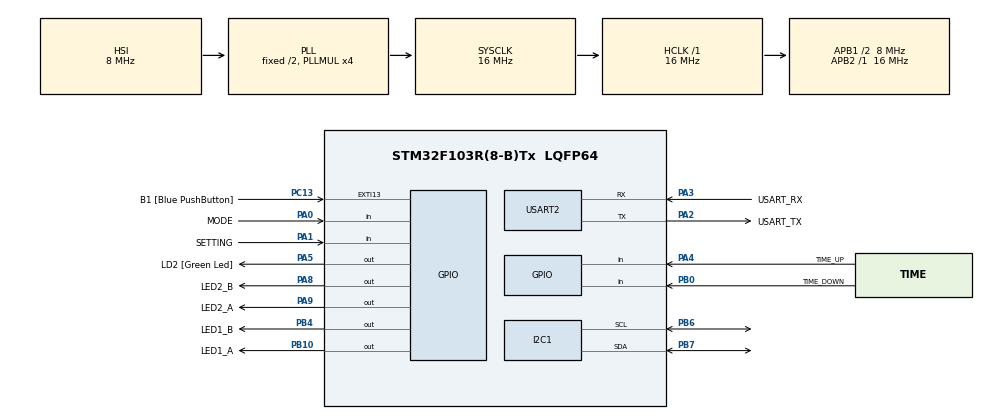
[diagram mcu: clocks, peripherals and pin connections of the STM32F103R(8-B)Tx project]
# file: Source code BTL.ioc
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Mcu.Family=STM32F1
Mcu.Name=STM32F103R(8-B)Tx
Mcu.Package=LQFP64
NVIC.EXTI15_10_IRQn=true\:0\:0\:false\:false\:true\:true\:true
NVIC.PriorityGroup=NVIC_PRIORITYGROUP_4
NVIC.TIM2_IRQn=true\:0\:0\:false\:false\:true\:true\:true
PA0-WKUP.GPIO_Label=MODE
PA0-WKUP.GPIO_PuPd=GPIO_PULLUP
PA0-WKUP.Signal=GPIO_Input
PA1.GPIO_Label=SETTING
PA1.GPIO_PuPd=GPIO_PULLUP
PA1.Signal=GPIO_Input
PA13.GPIO_Label=TMS
PA13.Mode=Serial_Wire
PA13.Signal=SYS_JTMS-SWDIO
PA14.GPIO_Label=TCK
PA14.Mode=Serial_Wire
PA14.Signal=SYS_JTCK-SWCLK
PA2.GPIO_Label=USART_TX
PA2.GPIO_Mode=GPIO_MODE_AF_PP
PA2.GPIO_PuPd=GPIO_NOPULL
PA2.GPIO_Speed=GPIO_SPEED_FREQ_LOW
PA2.Mode=Asynchronous
PA2.Signal=USART2_TX
PA3.GPIO_Label=USART_RX
PA3.GPIO_Mode=GPIO_MODE_AF_PP
PA3.GPIO_PuPd=GPIO_NOPULL
PA3.GPIO_Speed=GPIO_SPEED_FREQ_LOW
PA3.Mode=Asynchronous
PA3.Signal=USART2_RX
PA4.GPIO_Label=TIME_UP
PA4.GPIO_PuPd=GPIO_PULLUP
PA4.Signal=GPIO_Input
PA5.GPIO_Label=LD2 [Green Led]
PA5.GPIO_ModeDefaultOutputPP=GPIO_MODE_OUTPUT_PP
PA5.GPIO_PuPd=GPIO_NOPULL
PA5.GPIO_Speed=GPIO_SPEED_FREQ_LOW
PA5.Signal=GPIO_Output
PA8.GPIO_Label=LED2_B
PA8.Signal=GPIO_Output
PA9.GPIO_Label=LED2_A
PA9.Signal=GPIO_Output
PB0.GPIO_Label=TIME_DOWN
PB0.GPIO_PuPd=GPIO_PULLUP
PB0.Signal=GPIO_Input
PB10.GPIO_Label=LED1_A
PB10.Signal=GPIO_Output
PB3.GPIO_Label=SWO
PB3.Signal=SYS_JTDO-TRACESWO
PB4.GPIO_Label=LED1_B
PB4.Signal=GPIO_Output
PB6.Mode=I2C
PB6.Signal=I2C1_SCL
PB7.Mode=I2C
PB7.Signal=I2C1_SDA
PC13-TAMPER-RTC.GPIO_Label=B1 [Blue PushButton]
PC13-TAMPER-RTC.GPIO_PuPd=GPIO_NOPULL
PC13-TAMPER-RTC.Signal=GPXTI13
PC14-OSC32_IN.Mode=LSE-External-Oscillator
PC14-OSC32_IN.Signal=RCC_OSC32_IN
PC15-OSC32_OUT.Mode=LSE-External-Oscillator
PC15-OSC32_OUT.Signal=RCC_OSC32_OUT
PD0-OSC_IN.Mode=HSE-External-Clock-Source
PD0-OSC_IN.Signal=RCC_OSC_IN
PD1-OSC_OUT.Mode=HSE-External-Clock-Source
PD1-OSC_OUT.Signal=RCC_OSC_OUT
ProjectManager.HeapSize=0x200
ProjectManager.StackSize=0x400
ProjectManager.TargetToolchain=STM32CubeIDE
RCC.AHBFreq_Value=16000000
RCC.APB1CLKDivider=RCC_HCLK_DIV2
RCC.APB1Freq_Value=8000000
RCC.APB1TimFreq_Value=16000000
RCC.APB2Freq_Value=16000000
RCC.APB2TimFreq_Value=16000000
RCC.HCLKFreq_Value=16000000
RCC.PLLMUL=RCC_PLL_MUL4
RCC.RTCClockSelection=RCC_RTCCLKSOURCE_LSE
RCC.SYSCLKFreq_VALUE=16000000
RCC.SYSCLKSource=RCC_SYSCLKSOURCE_PLLCLK
RCC.USBFreq_Value=16000000
TIM2.Period=9
TIM2.Prescaler=15999
USART2.VirtualMode=VM_ASYNC
VP_TIM2_VS_ClockSourceINT.Mode=Internal
board=NUCLEO-F103RB

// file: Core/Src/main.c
/* USER CODE BEGIN Header */
/**
 ******************************************************************************
 * @file           : main.c
 * @brief          : Main program body
 ******************************************************************************
 * @attention
 *
 * <h2><center>&copy; Copyright (c) 2025 STMicroelectronics.
 * All rights reserved.</center></h2>
 *
 * This software component is licensed by ST under BSD 3-Clause license,
 * the "License"; You may not use this file except in compliance with the
 * License. You may obtain a copy of the License at:
 *                        opensource.org/licenses/BSD-3-Clause
 *
 ******************************************************************************
 */
/* USER CODE END Header */
#include "main.h"
#include "i2c.h"
#include "tim.h"
#include "usart.h"
#include "gpio.h"

/* USER CODE BEGIN Includes */
// #include "i2c-lcd.h"
#include "global.h"
#include "fsm_automatic.h"
#include "fsm_setting.h"
#include "i2c_lcd.h"
/* USER CODE END Includes */

void SystemClock_Config(void);

int main(void)
{

  /* MCU Configuration--------------------------------------------------------*/

  /* Reset of all peripherals, Initializes the Flash interface and the Systick. */
  HAL_Init();

  /* Configure the system clock */
  SystemClock_Config();

  /* Initialize all configured peripherals */
  MX_GPIO_Init();
  MX_USART2_UART_Init();
  MX_I2C1_Init();
  MX_TIM2_Init();
  /* USER CODE BEGIN 2 */
  HAL_TIM_Base_Start_IT(&htim2);
  lcd_init();
  lcd_put_cursor(0, 0);
  lcd_send_string("Hello World!");
  lcd_put_cursor(1, 0);
  lcd_send_string("Traffic light");
  HAL_Delay(3000);
  // D5-D6 (A-B): 1-1(red), 1-0(yellow), 0-1(green), 0-0(off)
  HAL_GPIO_WritePin(LED1_A_GPIO_Port, LED1_A_Pin, SET);
  HAL_GPIO_WritePin(LED1_B_GPIO_Port, LED1_B_Pin, SET);

  HAL_GPIO_WritePin(LED2_A_GPIO_Port, LED2_A_Pin, SET);
  HAL_GPIO_WritePin(LED2_B_GPIO_Port, LED2_B_Pin, SET);
  /* USER CODE END 2 */

  /* Infinite loop */
  /* USER CODE BEGIN WHILE */
  status = INIT;
  while (1)
  {
    fsm_automatic_run();
    fsm_setting();
    fsm_manual();
    /* USER CODE END WHILE */

  }
}

void SystemClock_Config(void)
{
  RCC_OscInitTypeDef RCC_OscInitStruct = {0};
  RCC_ClkInitTypeDef RCC_ClkInitStruct = {0};

  /** Initializes the RCC Oscillators according to the specified parameters
  * in the RCC_OscInitTypeDef structure.
  */
  RCC_OscInitStruct.OscillatorType = RCC_OSCILLATORTYPE_HSI;
  RCC_OscInitStruct.HSIState = RCC_HSI_ON;
  RCC_OscInitStruct.HSICalibrationValue = RCC_HSICALIBRATION_DEFAULT;
  RCC_OscInitStruct.PLL.PLLState = RCC_PLL_ON;
  RCC_OscInitStruct.PLL.PLLSource = RCC_PLLSOURCE_HSI_DIV2;
  RCC_OscInitStruct.PLL.PLLMUL = RCC_PLL_MUL4;
  if (HAL_RCC_OscConfig(&RCC_OscInitStruct) != HAL_OK)
  {
    Error_Handler();
  }
  /** Initializes the CPU, AHB and APB buses clocks
  */
  RCC_ClkInitStruct.ClockType = RCC_CLOCKTYPE_HCLK|RCC_CLOCKTYPE_SYSCLK
                              |RCC_CLOCKTYPE_PCLK1|RCC_CLOCKTYPE_PCLK2;
  RCC_ClkInitStruct.SYSCLKSource = RCC_SYSCLKSOURCE_PLLCLK;
  RCC_ClkInitStruct.AHBCLKDivider = RCC_SYSCLK_DIV1;
  RCC_ClkInitStruct.APB1CLKDivider = RCC_HCLK_DIV2;
  RCC_ClkInitStruct.APB2CLKDivider = RCC_HCLK_DIV1;

  if (HAL_RCC_ClockConfig(&RCC_ClkInitStruct, FLASH_LATENCY_0) != HAL_OK)
  {
    Error_Handler();
  }
}

/* USER CODE BEGIN 4 */
void HAL_TIM_PeriodElapsedCallback(TIM_HandleTypeDef *htim)
{
  timer_run();
  getKeyInput();
}
/* USER CODE END 4 */

void Error_Handler(void)
{
  __disable_irq();
  while (1)
  {
  }
}

/************************ (C) COPYRIGHT STMicroelectronics *****END OF FILE****/
